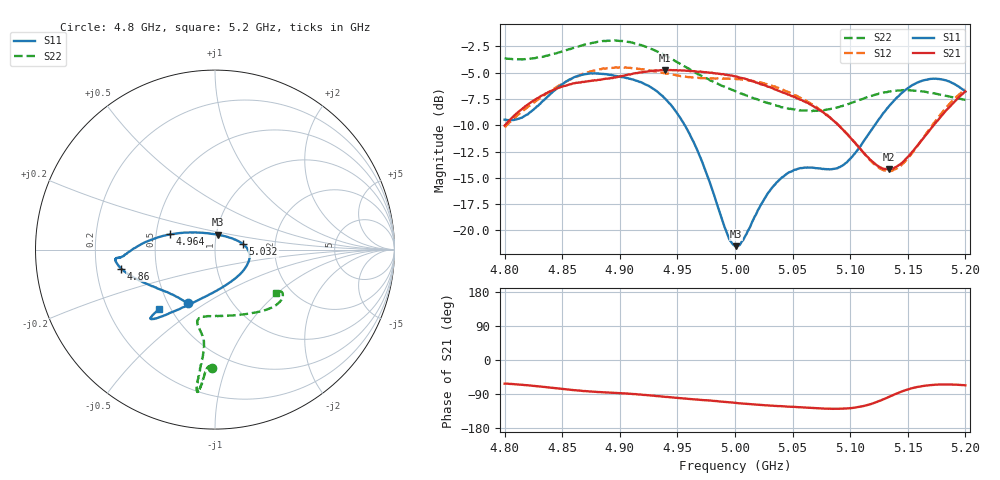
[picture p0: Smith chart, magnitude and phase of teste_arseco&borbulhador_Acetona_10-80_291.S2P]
! Network Analyzer HP8722D
! Hewlett-Packard
! Data name: Linha & Wilkinson
! Saver's name: Rodrigo Anjos
! Comments: Teste da utilização de aquisição
! continua pelo VNA HP8722D
! Time and date: 17/4/2025 16:47
!  Frequency  S11  S21  S12  S22
# HZ  S  MA R 50
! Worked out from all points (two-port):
!   401 points, 4.8 GHz to 5.2 GHz, reference 50 ohm
!   highest |S21| = -4.74 dB at 4.939 GHz (marker M1); lowest = -14.2 dB at 5.134 GHz (marker M2)
!   |S21| within 3 dB of the highest: 4.824 GHz to 5.06 GHz (236.5 MHz wide, 4.78 % of centre); 5.190739 GHz to end of sweep
!   lowest |S11| = -21.5 dB at 5.001 GHz (marker M3), VSWR 1.18, Z = 50.7 + j8.48 ohm
!   |S11| at or under -10 dB: 4.956 GHz to 5.121 GHz (164.8 MHz wide, 3.27 % of centre)
!   |S22| runs from -8.7 to -1.9 dB; largest |S21 - S12| = 0.87
!   S11 on the Smith chart (normalised r, x): 4.8 GHz: 0.63, -0.42; 4.86 GHz: 0.31, -0.09; 4.964 GHz: 0.59, +0.11; 5.032 GHz: 1.37, +0.09; 5.2 GHz: 0.43, -0.36
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4.8e9  0.336 -116.9  0.3153 -62.5  0.3094 -176.5  0.6577 -91.4
4.818e9  0.3516 -136.1  0.3895 -66.2  0.3784 -176.1  0.6517 -93.0
4.86e9  0.5336 -168.6  0.4999 -79.3  0.531 -179.5  0.7376 -95.4
4.867e9  0.5488 -171.3  0.5075 -81.6  0.552 179.3  0.7571 -95.7
4.902e9  0.5346 -175.2  0.5415 -87.8  0.5946 172.7  0.795 -97.3
4.934e9  0.4496 179.1  0.5756 -95.6  0.5665 170.0  0.7006 -97.4
4.939e9  0.4249 177.0  0.5792 -97.1  0.5589 170.1  0.6808 -97.2
4.964e9  0.2637 161.2  0.5712 -103.8  0.5329 172.0  0.5692 -96.3
4.993e9  0.09715 111.3  0.5494 -111.0  0.5259 174.0  0.4771 -98.9
5e9  0.08466 84.5  0.54 -113.1  0.5258 174.2  0.4597 -100.2
5.001e9  0.08424 80.4  0.5387 -113.2  0.524 174.3  0.4574 -100.5
5.006e9  0.08884 61.2  0.5298 -114.7  0.5215 174.0  0.4466 -101.6
5.032e9  0.1592 11.3  0.476 -120.5  0.487 172.9  0.3976 -103.4
5.047e9  0.189 -3.2  0.4419 -123.1  0.4535 172.4  0.3779 -99.5
5.067e9  0.199 -24.3  0.3922 -126.4  0.3976 172.0  0.369 -88.5
5.095e9  0.2066 -72.7  0.2957 -128.2  0.2972 174.5  0.3932 -66.6
5.121e9  0.3147 -111.7  0.2082 -113.3  0.2062 -168.2  0.4408 -49.6
5.134e9  0.3914 -121.5  0.1951 -96.8  0.1916 -149.9  0.4574 -43.3
5.148e9  0.4659 -127.9  0.218 -79.6  0.2137 -130.0  0.4638 -38.2
5.168e9  0.5232 -132.3  0.2947 -66.9  0.2992 -113.1  0.452 -33.5
5.184e9  0.5144 -133.4  0.3759 -64.5  0.3869 -108.8  0.4356 -32.4
5.2e9  0.4564 -133.4  0.4574 -67.0  0.4689 -109.0  0.4172 -35.1
